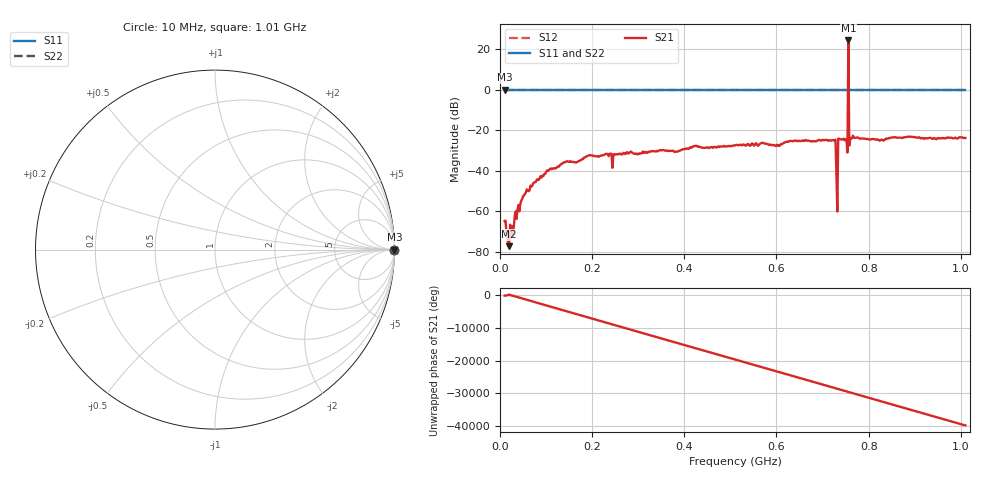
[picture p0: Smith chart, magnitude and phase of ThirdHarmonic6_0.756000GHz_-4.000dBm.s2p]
! 8/16/2025 1:16:08 AM
! C:\ANRITSUVNA\TEMP\TEMP.S2P
! CHANNEL.1
! TR.MEASUREMENT
! RAW.DATA
! RF.CORRECTION.OFF
! AVERAGING.OFF
! IF.BANDWIDTH: 5KHZ
! SWEEPTYPE:  FREQ.SWEEP(Linear)
! Reference Plane Port Info
! PORT:  PORT1  PORT2
! DISTANCE:  0  m  0  m
! TIME:  0  s  0  s
! PHASE.OFFSET:  0  deg.  0  deg.
! LOSS:  0  dB  0  dB
! REF.LOSS:  0  dB  0  dB
! REF.FREQ:  0  Hz  0  Hz
! Power Info
! POWER:  -20  dBm  -20  dBm
! EFF.POWER:  -20  dBm  -20  dBm
! SOURCE.ATTEN:  0  dB  0  dB
! TEST.ATTEN:  0  dB  0  dB
# GHZ S RI R 50.0
! FREQ.GHZ  S11RE  S11IM  S21RE  S21IM  S12RE  S12IM  S22RE  S22IM
!; PortSelection: Port_12
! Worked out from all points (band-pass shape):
!   501 points, 10 MHz to 1.01 GHz, reference 50 ohm
!   highest |S21| = 24.34 dB at 756 MHz (marker M1); lowest = -77.3 dB at 20 MHz (marker M2)
!   |S21| within 3 dB of the highest: 755.8916 MHz to 756.1156 MHz (224 kHz wide, 0.0296 % of centre)
!   lowest |S11| = 0.0 dB at 10 MHz (marker M3)
!   |S11| at or under -10 dB: nowhere
!   |S22| runs from 0.0 to 0.0 dB; largest |S21 - S12| = 17
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0.01  1 0  -0.000526 -0.000223  1 0  1 0
0.016  1 0  5.59e-05 -0.000236  1 0  1 0
0.02  1 0  -0.000134 2.65e-05  1 0  1 0
0.048  1 0  0.000816 0.0018  1 0  1 0
0.07  1 0  -0.000248 -0.00421  1 0  1 0
0.106  1 0  -0.00754 -0.00693  1 0  1 0
0.178  1 0  -0.0187 -0.00441  1 0  1 0
0.344  1 0  0.03 -0.0061  1 0  1 0
0.51  1 0  -0.0403 0.0135  1 0  1 0
0.678  1 0  -0.0199 -0.0488  1 0  1 0
0.724  1 0  -0.0549 -0.0141  1 0  1 0
0.726  1 0  -0.025 0.0495  1 0  1 0
0.728  1 0  0.0467 0.0352  1 0  1 0
0.734  1 0  -0.0551 0.0283  1 0  1 0
0.738  1 0  0.0592 -0.00989  1 0  1 0
0.75  1 0  -0.0386 -0.0454  1 0  1 0
0.752  1 0  -0.052 0.0305  1 0  1 0
0.756  1 0  -3.419 -16.11  1 0  1 0
0.76  1 0  -0.0622 -0.00746  1 0  1 0
0.762  1 0  -0.0171 0.0593  1 0  1 0
0.844  1 0  0.0426 0.0478  1 0  1 0
1.01  1 0  -0.0607 -0.0205  1 0  1 0
